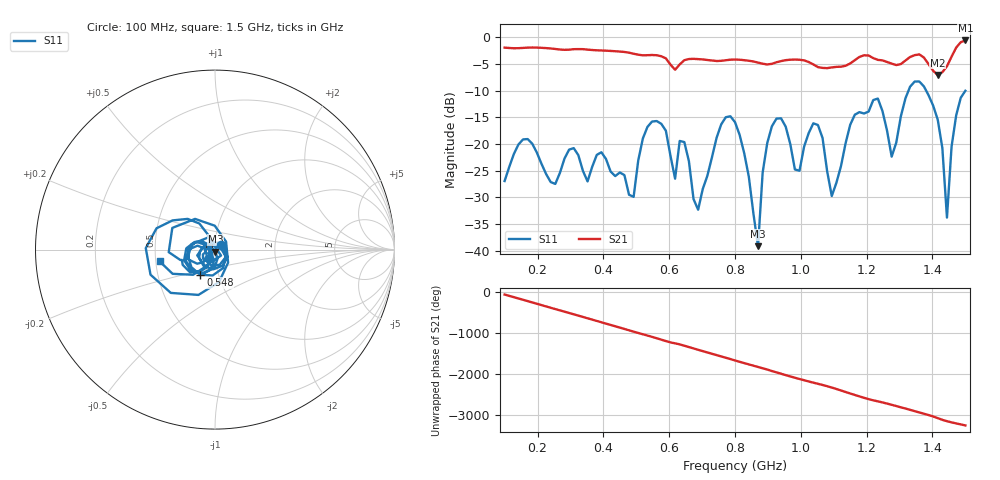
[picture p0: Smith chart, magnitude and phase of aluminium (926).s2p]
! NanoVNA-App
! Date: 2025-09-25 15:02:29
! Start: 100MHz Stop: 1,5GHz Points: 101
! S-Parameter data: F S11 S21 S12 S22
# Hz S RI R 50
!  Frequency  S11_Real  S11_Imag  S21_Real  S21_Imag  S12_Real  S12_Imag  S22_Real  S22_Imag
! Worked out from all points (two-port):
!   101 points, 100 MHz to 1.5 GHz, reference 50 ohm
!   highest |S21| = -0.57 dB at 1.5 GHz (marker M1); lowest = -7.1 dB at 1.416 GHz (marker M2)
!   |S21| within 3 dB of the highest: start of sweep to 577.3 MHz; 1.458 GHz to end of sweep (the widest 2 of 4)
!   lowest |S11| = -39.2 dB at 870 MHz (marker M3), VSWR 1.02, Z = 50.2 - j1.08 ohm
!   |S11| at or under -10 dB: start of sweep to 1.327 GHz; 1.381 GHz to end of sweep
!   S12 and S22 are empty: the file has one direction only
!   S11 on the Smith chart (normalised r, x): 100 MHz: 1.07, +0.06; 548 MHz: 0.82, -0.24; 1.5 GHz: 0.52, -0.08
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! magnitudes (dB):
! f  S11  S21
! 100 MHz  -27.0  -1.9
! 156 MHz  -19.1  -2.0
! 338 MHz  -25.0  -2.2
! 492 MHz  -29.9  -3.1
! 548 MHz  -15.8  -3.3
! 576 MHz  -16.2  -3.5
! 618 MHz  -26.5  -6.1
! 646 MHz  -19.6  -4.3
! 688 MHz  -32.3  -4.1
! 800 MHz  -15.9  -4.2
! 870 MHz  -39.2  -4.7
! 912 MHz  -16.7  -5.0
! 996 MHz  -25.0  -4.2
! 1.038 GHz  -16.1  -5.1
! 1.094 GHz  -29.8  -5.6
! 1.22 GHz  -11.8  -3.9
! 1.276 GHz  -22.4  -4.9
! 1.346 GHz  -8.3  -3.3
! 1.416 GHz  -15.4  -7.1
! 1.444 GHz  -33.8  -5.4
! 1.458 GHz  -20.5  -3.6
! 1.5 GHz  -10.0  -0.6
